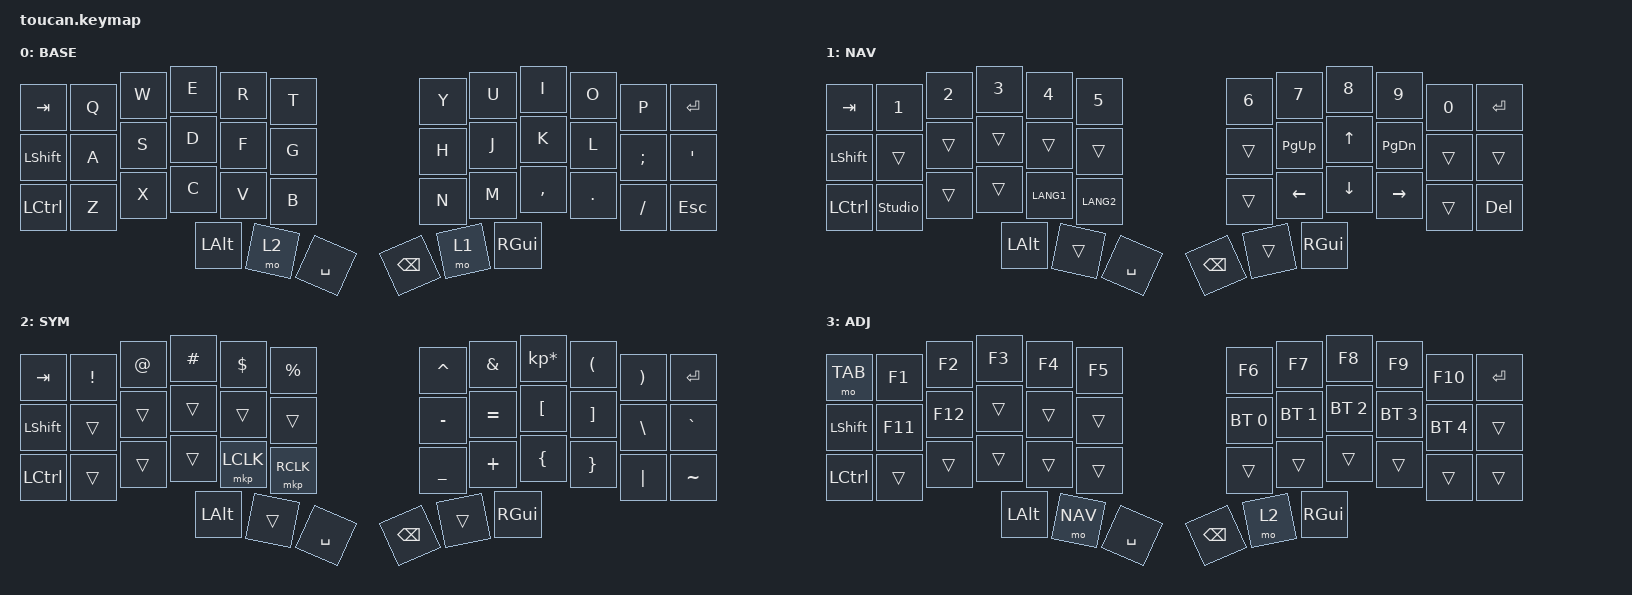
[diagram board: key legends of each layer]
#include <behaviors.dtsi>
#include <dt-bindings/zmk/bt.h>
#include <dt-bindings/zmk/keys.h>
#include <dt-bindings/zmk/pointing.h>

#define BASE 0
#define NAV  1
#define SYM  2
#define ADJ  3

/ {
    conditional_layers {
        compatible = "zmk,conditional-layers";

        tri_layer {
            if-layers = <1 2>;
            then-layer = <3>;
        };
    };

    keymap {
        compatible = "zmk,keymap";

        base {
            display-name = "BASE";
            bindings = <
&kp TAB  &kp Q  &kp W  &kp E  &kp R  &kp T  &kp Y  &kp U  &kp I  &kp O  &kp P  &kp ENTER  &kp LSHIFT  &kp A  &kp S  &kp D  &kp F  &kp G  &kp H  &kp J  &kp K  &kp L  &kp SEMI  &kp SQT  &kp LCTRL  &kp Z  &kp X  &kp C  &kp V  &kp B  &kp N  &kp M  &kp COMMA  &kp DOT  &kp FSLH  &kp ESC  &kp LALT  &mo 2  &kp SPACE  &kp BACKSPACE  &mo 1  &kp RIGHT_GUI
            >;
        };

        nav {
            display-name = "NAV";
            bindings = <
&kp TAB  &kp N1  &kp N2  &kp N3  &kp N4  &kp N5  &kp N6  &kp N7  &kp N8  &kp N9  &kp N0  &kp ENTER  &kp LSHIFT  &trans  &trans  &trans  &trans  &trans  &trans  &kp PAGE_UP  &kp UP  &kp PAGE_DOWN  &trans  &trans  &kp LCTRL  &studio_unlock  &trans  &trans  &kp LANG1  &kp LANG2  &trans  &kp LEFT  &kp DOWN  &kp RIGHT  &trans  &kp DELETE  &kp LALT  &trans  &kp SPACE  &kp BACKSPACE  &trans  &kp RGUI
            >;
        };

        sym {
            display-name = "SYM";
            bindings = <
&kp TAB  &kp EXCL  &kp AT  &kp HASH  &kp DLLR  &kp PRCNT  &kp CARET  &kp AMPS  &kp KP_MULTIPLY  &kp LPAR  &kp RPAR  &kp ENTER  &kp LSHIFT  &trans  &trans  &trans  &trans  &trans  &kp MINUS  &kp EQUAL  &kp LBKT  &kp RBKT  &kp BSLH  &kp GRAVE  &kp LCTRL  &trans  &trans  &trans  &mkp LCLK  &mkp RCLK  &kp UNDER  &kp PLUS  &kp LBRC  &kp RBRC  &kp PIPE  &kp TILDE  &kp LALT  &trans  &kp SPACE  &kp BACKSPACE  &trans  &kp RGUI
            >;
        };

        adj {
            display-name = "ADJ";
            bindings = <
&mo TAB  &kp F1  &kp F2  &kp F3  &kp F4  &kp F5  &kp F6  &kp F7  &kp F8  &kp F9  &kp F10  &kp ENTER  &kp LSHIFT  &kp F11  &kp F12  &trans  &trans  &trans  &bt BT_SEL 0  &bt BT_SEL 1  &bt BT_SEL 2  &bt BT_SEL 3  &bt BT_SEL 4  &trans  &kp LCTRL  &trans  &trans  &trans  &trans  &trans  &trans  &trans  &trans  &trans  &trans  &trans  &kp LALT  &mo NAV  &kp SPACE  &kp BACKSPACE  &mo 2  &kp RGUI
            >;
        };

        extra_1 { status = "reserved"; };

        extra_2 { status = "reserved"; };

        extra_3 { status = "reserved"; };
    };
};
